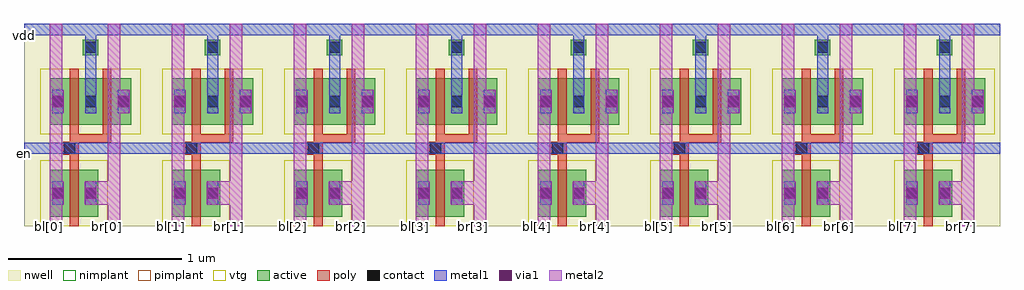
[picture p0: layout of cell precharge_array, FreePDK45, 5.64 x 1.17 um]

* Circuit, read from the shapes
.subckt precharge_array bl[0] bl[1] bl[2] bl[3] bl[4] bl[5] bl[6] bl[7] br[0] br[1] br[2] br[3] br[4] br[5] br[6] br[7] en vdd
M1 br[0] en bl[0] vdd pfet w=0.27u l=0.05u
M2 vdd en bl[0] vdd pfet w=0.27u l=0.05u
M3 br[0] en vdd vdd pfet w=0.27u l=0.05u
M4 br[1] en bl[1] vdd pfet w=0.27u l=0.05u
M5 vdd en bl[1] vdd pfet w=0.27u l=0.05u
M6 br[1] en vdd vdd pfet w=0.27u l=0.05u
M7 br[2] en bl[2] vdd pfet w=0.27u l=0.05u
M8 vdd en bl[2] vdd pfet w=0.27u l=0.05u
M9 br[2] en vdd vdd pfet w=0.27u l=0.05u
M10 br[3] en bl[3] vdd pfet w=0.27u l=0.05u
M11 vdd en bl[3] vdd pfet w=0.27u l=0.05u
M12 br[3] en vdd vdd pfet w=0.27u l=0.05u
M13 br[4] en bl[4] vdd pfet w=0.27u l=0.05u
M14 vdd en bl[4] vdd pfet w=0.27u l=0.05u
M15 br[4] en vdd vdd pfet w=0.27u l=0.05u
M16 br[5] en bl[5] vdd pfet w=0.27u l=0.05u
M17 vdd en bl[5] vdd pfet w=0.27u l=0.05u
M18 br[5] en vdd vdd pfet w=0.27u l=0.05u
M19 br[6] en bl[6] vdd pfet w=0.27u l=0.05u
M20 vdd en bl[6] vdd pfet w=0.27u l=0.05u
M21 br[6] en vdd vdd pfet w=0.27u l=0.05u
M22 br[7] en bl[7] vdd pfet w=0.27u l=0.05u
M23 vdd en bl[7] vdd pfet w=0.27u l=0.05u
M24 br[7] en vdd vdd pfet w=0.27u l=0.05u
.ends

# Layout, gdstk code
from math import pi, radians
import gdstk
lib = gdstk.Library(unit=1e-6, precision=5e-10)
def R(c, l, rs):  # rectangles x0, y0, x1, y1
    for r in rs: c.add(gdstk.rectangle(r[:2], r[2:], *l))
active = (1, 0)
nwell = (3, 0)
nimplant = (4, 0)
pimplant = (5, 0)
vtg = (6, 0)
poly = (9, 0)
contact = (10, 0)
metal1 = (11, 0)
via1 = (12, 0)
metal2 = (13, 0)

active_contact_metal1_1x = lib.new_cell('active_contact_metal1_1x1_pn')
R(active_contact_metal1_1x, active, [(0,0.0225,0.09,0.1125)])
R(active_contact_metal1_1x, nwell, [(-0.055,-0.0325,0.145,0.1675)])
R(active_contact_metal1_1x, pimplant, [(0,0.0225,0.09,0.1125)])
R(active_contact_metal1_1x, contact, [(0.0125,0.035,0.0775,0.1)])
R(active_contact_metal1_1x, metal1, [(0.0125,0,0.0775,0.135)])

pmos_m1_w0_27 = lib.new_cell('pmos_m1_w0_27')
R(pmos_m1_w0_27, active, [(0,0,0.28,0.27)])
R(pmos_m1_w0_27, nwell, [(-0.055,-0.055,0.335,0.325)])
R(pmos_m1_w0_27, pimplant, [(0,0,0.28,0.27)])
R(pmos_m1_w0_27, vtg, [(-0.055,-0.055,0.335,0.325)])
R(pmos_m1_w0_27, poly, [(0.115,-0.055,0.165,0.325), (0.115,-0.055,0.165,0.325)])
R(pmos_m1_w0_27, metal1, [(0.0125,0.0675,0.0775,0.2025), (0.2025,0.0675,0.2675,0.2025)])
pmos_m1_w0_27.add(gdstk.Reference(active_contact_metal1_1x, (0,0.0675)))
pmos_m1_w0_27.add(gdstk.Reference(active_contact_metal1_1x, (0.19,0.0675)))
pmos_m1_w0_27.add(gdstk.Label('S', (0.0125,0.0675), layer=11, texttype=0))
pmos_m1_w0_27.add(gdstk.Label('D', (0.2025,0.0675), layer=11, texttype=0))
pmos_m1_w0_27.add(gdstk.Label('G', (0.115,-0.055), layer=9, texttype=0))

poly_contact_metal1_1x1 = lib.new_cell('poly_contact_metal1_1x1')
R(poly_contact_metal1_1x1, poly, [(0,0.03,0.075,0.105)])
R(poly_contact_metal1_1x1, contact, [(0.005,0.035,0.07,0.1)])
R(poly_contact_metal1_1x1, metal1, [(0.005,0,0.07,0.135)])

c_active_contact_metal1_1x = lib.new_cell('active_contact_metal1_1x1_nn')
R(c_active_contact_metal1_1x, active, [(0,0.0225,0.09,0.1125)])
R(c_active_contact_metal1_1x, nwell, [(-0.055,-0.0325,0.145,0.1675)])
R(c_active_contact_metal1_1x, nimplant, [(0,0.0225,0.09,0.1125)])
R(c_active_contact_metal1_1x, contact, [(0.0125,0.035,0.0775,0.1)])
R(c_active_contact_metal1_1x, metal1, [(0.0125,0,0.0775,0.135)])

metal1_via1_metal2_1x1 = lib.new_cell('metal1_via1_metal2_1x1')
R(metal1_via1_metal2_1x1, metal1, [(0.0025,0,0.0675,0.135)])
R(metal1_via1_metal2_1x1, via1, [(0.0025,0.035,0.0675,0.1)])
R(metal1_via1_metal2_1x1, metal2, [(0,0,0.07,0.135)])

precharge = lib.new_cell('precharge')
R(precharge, nwell, [(0,0,0.705,1.1675)])
R(precharge, poly, [(0.265,0,0.315,0.53), (0.265,0.48,0.505,0.53)])
R(precharge, metal1, [(0,0.4175,0.705,0.4825), (0.3525,0.6525,0.4175,1.1675), (0,1.1025,0.705,1.1675)])
R(precharge, metal2, [(0.15,0,0.22,1.1675), (0.485,0,0.555,1.1675), (0.15,0.1225,0.2275,0.2575), (0.3525,0.1225,0.555,0.2575), (0.15,0.6525,0.2275,0.7875), (0.485,0.6525,0.6075,0.7875)])
precharge.add(gdstk.Reference(pmos_m1_w0_27, (0.15,0.055)))
precharge.add(gdstk.Reference(pmos_m1_w0_27, (0.15,0.585)))
precharge.add(gdstk.Reference(pmos_m1_w0_27, (0.34,0.585)))
precharge.add(gdstk.Reference(poly_contact_metal1_1x1, (0.3325,0.4125), rotation=pi/2))
precharge.add(gdstk.Reference(c_active_contact_metal1_1x, (0.34,0.965)))
precharge.add(gdstk.Reference(metal1_via1_metal2_1x1, (0.16,0.1225)))
precharge.add(gdstk.Reference(metal1_via1_metal2_1x1, (0.35,0.1225)))
precharge.add(gdstk.Reference(metal1_via1_metal2_1x1, (0.16,0.6525)))
precharge.add(gdstk.Reference(metal1_via1_metal2_1x1, (0.54,0.6525)))
precharge.add(gdstk.Label('bl', (0.15,0), layer=13, texttype=0))
precharge.add(gdstk.Label('en', (0,0.4175), layer=11, texttype=0))
precharge.add(gdstk.Label('vdd', (0,1.1025), layer=11, texttype=0))
precharge.add(gdstk.Label('br', (0.485,0), layer=13, texttype=0))

precharge_array = lib.new_cell('precharge_array')
R(precharge_array, metal1, [(0,0.4175,5.64,0.4825), (0,1.1025,5.64,1.1675)])
R(precharge_array, metal2, [(0.15,0,0.22,1.1675), (0.485,0,0.555,1.1675), (0.855,0,0.925,1.1675), (1.19,0,1.26,1.1675), (1.56,0,1.63,1.1675), (1.895,0,1.965,1.1675), (2.265,0,2.335,1.1675), (2.6,0,2.67,1.1675), (2.97,0,3.04,1.1675), (3.305,0,3.375,1.1675), (3.675,0,3.745,1.1675), (4.01,0,4.08,1.1675), (4.38,0,4.45,1.1675), (4.715,0,4.785,1.1675), (5.085,0,5.155,1.1675), (5.42,0,5.49,1.1675)])
precharge_array.add(gdstk.Reference(precharge, (0,0)))
precharge_array.add(gdstk.Reference(precharge, (0.705,0)))
precharge_array.add(gdstk.Reference(precharge, (1.41,0)))
precharge_array.add(gdstk.Reference(precharge, (2.115,0)))
precharge_array.add(gdstk.Reference(precharge, (2.82,0)))
precharge_array.add(gdstk.Reference(precharge, (3.525,0)))
precharge_array.add(gdstk.Reference(precharge, (4.23,0)))
precharge_array.add(gdstk.Reference(precharge, (4.935,0)))
precharge_array.add(gdstk.Label('bl[1]', (0.855,0), layer=13, texttype=0))
precharge_array.add(gdstk.Label('en', (0,0.4175), layer=11, texttype=0))
precharge_array.add(gdstk.Label('bl[0]', (0.15,0), layer=13, texttype=0))
precharge_array.add(gdstk.Label('bl[4]', (2.97,0), layer=13, texttype=0))
precharge_array.add(gdstk.Label('br[3]', (2.6,0), layer=13, texttype=0))
precharge_array.add(gdstk.Label('bl[3]', (2.265,0), layer=13, texttype=0))
precharge_array.add(gdstk.Label('br[2]', (1.895,0), layer=13, texttype=0))
precharge_array.add(gdstk.Label('bl[2]', (1.56,0), layer=13, texttype=0))
precharge_array.add(gdstk.Label('bl[7]', (5.085,0), layer=13, texttype=0))
precharge_array.add(gdstk.Label('br[6]', (4.715,0), layer=13, texttype=0))
precharge_array.add(gdstk.Label('bl[6]', (4.38,0), layer=13, texttype=0))
precharge_array.add(gdstk.Label('br[1]', (1.19,0), layer=13, texttype=0))
precharge_array.add(gdstk.Label('vdd', (0,1.1025), layer=11, texttype=0))
precharge_array.add(gdstk.Label('bl[5]', (3.675,0), layer=13, texttype=0))
precharge_array.add(gdstk.Label('br[0]', (0.485,0), layer=13, texttype=0))
precharge_array.add(gdstk.Label('br[5]', (4.01,0), layer=13, texttype=0))
precharge_array.add(gdstk.Label('br[4]', (3.305,0), layer=13, texttype=0))
precharge_array.add(gdstk.Label('br[7]', (5.42,0), layer=13, texttype=0))

lib.write_gds('precharge_array.gds')
